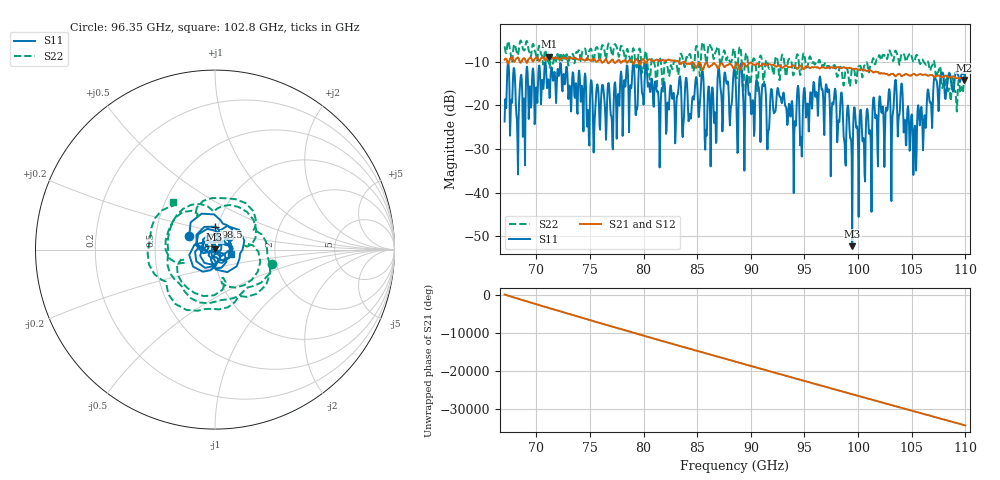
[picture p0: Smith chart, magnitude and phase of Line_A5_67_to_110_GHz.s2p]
#  HZ  S  MA  R  50.00
! Rohde & Schwarz ZVA67 4Ports - Version 4.11 - 1305.7002k04 SN: 101051
! Date: 2023-09-13 17:24:50
! Measurements: S11 S21 S12 S22
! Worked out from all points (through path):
!   860 points, 67.05 GHz to 110 GHz, reference 50 ohm
!   highest |S21| = -8.87 dB at 71.2 GHz (marker M1); lowest = -14.3 dB at 109.9 GHz (marker M2)
!   lowest |S11| = -52.3 dB at 99.45 GHz (marker M3), VSWR 1.00, Z = 49.8 + j0.126 ohm
!   |S11| at or under -10 dB: start of sweep to 79.63 GHz; 79.67 GHz to end of sweep
!   |S22| runs from -21.4 to -5.2 dB; largest |S21 - S12| = 0.035
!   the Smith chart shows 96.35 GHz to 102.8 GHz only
!   S11 on the Smith chart (normalised r, x): 96.35 GHz: 0.74, +0.12; 98.5 GHz: 0.97, +0.25; 102.8 GHz: 1.19, -0.06
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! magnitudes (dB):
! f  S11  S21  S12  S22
! 67.05 GHz  -23.7  -9.6  -9.6  -6.5
! 67.3 GHz  -11.9  -10.1  -10.1  -6.0
! 68.25 GHz  -28.4  -9.1  -9.1  -8.5
! 71.2 GHz  -16.4  -8.9  -8.9  -11.0
! 74.25 GHz  -15.5  -9.4  -9.4  -8.3
! 77.05 GHz  -23.8  -9.6  -9.6  -8.5
! 80.3 GHz  -11.8  -10.1  -10.1  -8.9
! 81.4 GHz  -18.4  -9.8  -9.8  -9.5
! 88.55 GHz  -13.0  -11.0  -11.0  -9.1
! 91.6 GHz  -26.7  -10.7  -10.7  -10.9
! 92.6 GHz  -17.0  -10.9  -10.9  -12.5
! 94.05 GHz  -26.6  -11.0  -11.0  -12.2
! 95.7 GHz  -20.8  -11.3  -11.3  -10.3
! 96.35 GHz  -15.7  -11.5  -11.5  -9.7
! 98.5 GHz  -17.9  -11.4  -11.4  -12.6
! 99.45 GHz  -52.3  -11.6  -11.6  -11.5
! 102.8 GHz  -20.9  -12.9  -12.9  -9.0
! 102.8 GHz  -17.0  -13.2  -13.1  -7.7
! 105.3 GHz  -24.7  -12.9  -12.9  -9.6
! 107.2 GHz  -13.9  -13.5  -13.4  -12.4
! 109.9 GHz  -12.7  -14.3  -14.2  -13.4
! 110 GHz  -13.6  -14.2  -14.1  -13.8
